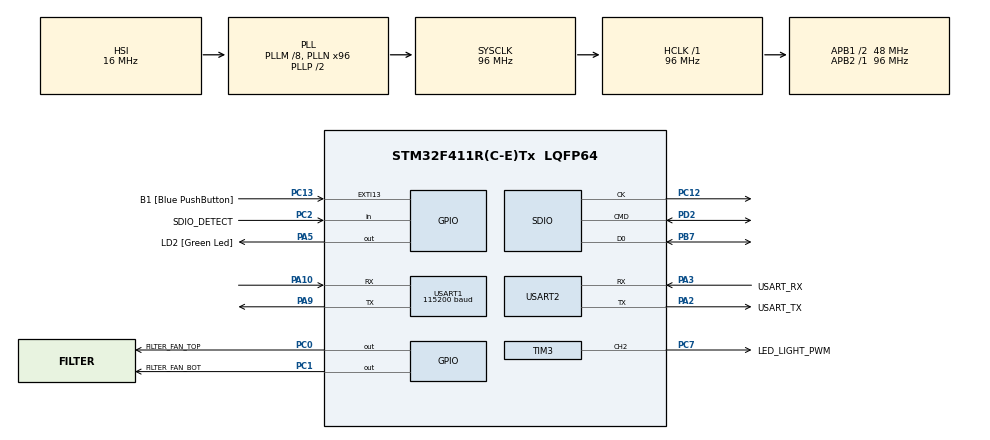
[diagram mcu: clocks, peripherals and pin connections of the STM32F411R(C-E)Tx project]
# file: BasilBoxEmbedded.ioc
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Dma.Request0=USART1_RX
Dma.Request1=SDIO_RX
Dma.Request2=SDIO_TX
Dma.SDIO_RX.1.Direction=DMA_PERIPH_TO_MEMORY
Dma.SDIO_RX.1.FIFOMode=DMA_FIFOMODE_ENABLE
Dma.SDIO_RX.1.FIFOThreshold=DMA_FIFO_THRESHOLD_FULL
Dma.SDIO_RX.1.Instance=DMA2_Stream3
Dma.SDIO_RX.1.MemBurst=DMA_MBURST_INC4
Dma.SDIO_RX.1.MemDataAlignment=DMA_MDATAALIGN_WORD
Dma.SDIO_RX.1.MemInc=DMA_MINC_ENABLE
Dma.SDIO_RX.1.Mode=DMA_PFCTRL
Dma.SDIO_RX.1.PeriphBurst=DMA_PBURST_INC4
Dma.SDIO_RX.1.PeriphDataAlignment=DMA_PDATAALIGN_WORD
Dma.SDIO_RX.1.PeriphInc=DMA_PINC_DISABLE
Dma.SDIO_RX.1.Priority=DMA_PRIORITY_LOW
Dma.SDIO_TX.2.Direction=DMA_MEMORY_TO_PERIPH
Dma.SDIO_TX.2.FIFOMode=DMA_FIFOMODE_ENABLE
Dma.SDIO_TX.2.FIFOThreshold=DMA_FIFO_THRESHOLD_FULL
Dma.SDIO_TX.2.Instance=DMA2_Stream6
Dma.SDIO_TX.2.MemBurst=DMA_MBURST_INC4
Dma.SDIO_TX.2.MemDataAlignment=DMA_MDATAALIGN_WORD
Dma.SDIO_TX.2.MemInc=DMA_MINC_ENABLE
Dma.SDIO_TX.2.Mode=DMA_PFCTRL
Dma.SDIO_TX.2.PeriphBurst=DMA_PBURST_INC4
Dma.SDIO_TX.2.PeriphDataAlignment=DMA_PDATAALIGN_WORD
Dma.SDIO_TX.2.PeriphInc=DMA_PINC_DISABLE
Dma.SDIO_TX.2.Priority=DMA_PRIORITY_LOW
Dma.USART1_RX.0.Direction=DMA_PERIPH_TO_MEMORY
Dma.USART1_RX.0.FIFOMode=DMA_FIFOMODE_DISABLE
Dma.USART1_RX.0.Instance=DMA2_Stream2
Dma.USART1_RX.0.MemDataAlignment=DMA_MDATAALIGN_BYTE
Dma.USART1_RX.0.MemInc=DMA_MINC_ENABLE
Dma.USART1_RX.0.Mode=DMA_CIRCULAR
Dma.USART1_RX.0.PeriphDataAlignment=DMA_PDATAALIGN_BYTE
Dma.USART1_RX.0.PeriphInc=DMA_PINC_DISABLE
Dma.USART1_RX.0.Priority=DMA_PRIORITY_LOW
FATFS.BSP.number=1
FATFS.USE_DMA_CODE_SD=1
FATFS._USE_LFN=1
FATFS0.BSP.STBoard=false
FATFS0.BSP.api=Unknown
FATFS0.BSP.instance=PC2
FATFS0.BSP.ip=GPIO
FATFS0.BSP.mode=Input
FATFS0.BSP.name=Detect_SDIO
FATFS0.BSP.solution=PC2
Mcu.Family=STM32F4
Mcu.Name=STM32F411R(C-E)Tx
Mcu.Package=LQFP64
NVIC.DMA2_Stream2_IRQn=true\:0\:0\:false\:false\:true\:false\:true\:true
NVIC.DMA2_Stream3_IRQn=true\:0\:0\:false\:false\:true\:false\:true\:true
NVIC.DMA2_Stream6_IRQn=true\:0\:0\:false\:false\:true\:false\:true\:true
NVIC.EXTI15_10_IRQn=true\:0\:0\:false\:false\:true\:true\:true\:true
NVIC.PriorityGroup=NVIC_PRIORITYGROUP_0
NVIC.RTC_Alarm_IRQn=true\:0\:0\:false\:false\:true\:true\:true\:true
NVIC.SDIO_IRQn=true\:0\:0\:false\:false\:true\:true\:true\:true
NVIC.TIM1_TRG_COM_TIM11_IRQn=true\:0\:0\:false\:false\:true\:true\:true\:true
NVIC.USART1_IRQn=true\:0\:0\:false\:false\:true\:true\:true\:true
PA10.Mode=Asynchronous
PA10.Signal=USART1_RX
PA13.GPIO_Label=TMS
PA13.Mode=Serial_Wire
PA13.Signal=SYS_JTMS-SWDIO
PA14.GPIO_Label=TCK
PA14.Mode=Serial_Wire
PA14.Signal=SYS_JTCK-SWCLK
PA2.GPIO_Label=USART_TX
PA2.Mode=Asynchronous
PA2.Signal=USART2_TX
PA3.GPIO_Label=USART_RX
PA3.Mode=Asynchronous
PA3.Signal=USART2_RX
PA5.GPIO_Label=LD2 [Green Led]
PA5.Signal=GPIO_Output
PA9.Mode=Asynchronous
PA9.Signal=USART1_TX
PB3.GPIO_Label=SWO
PB3.Signal=SYS_JTDO-SWO
PB7.GPIO_PuPd=GPIO_NOPULL
PB7.Mode=SD_1_bit
PB7.Signal=SDIO_D0
PC0.GPIO_Label=FILTER_FAN_TOP
PC0.Signal=GPIO_Output
PC1.GPIO_Label=FILTER_FAN_BOT
PC1.Signal=GPIO_Output
PC10.Signal=SDIO_D2
PC11.Signal=SDIO_D3
PC12.Mode=SD_1_bit
PC12.Signal=SDIO_CK
PC13-ANTI_TAMP.GPIO_Label=B1 [Blue PushButton]
PC13-ANTI_TAMP.GPIO_ModeDefaultEXTI=GPIO_MODE_IT_RISING_FALLING
PC13-ANTI_TAMP.Signal=GPXTI13
PC14-OSC32_IN.Mode=LSE-External-Oscillator
PC14-OSC32_IN.Signal=RCC_OSC32_IN
PC15-OSC32_OUT.Mode=LSE-External-Oscillator
PC15-OSC32_OUT.Signal=RCC_OSC32_OUT
PC2.GPIO_Label=SDIO_DETECT
PC2.Signal=GPIO_Input
PC7.GPIO_Label=LED_LIGHT_PWM
PC7.Signal=S_TIM3_CH2
PC9.Signal=SDIO_D1
PD2.GPIO_PuPd=GPIO_NOPULL
PD2.Mode=SD_1_bit
PD2.Signal=SDIO_CMD
PH0\ -\ OSC_IN.Mode=HSE-External-Clock-Source
PH0\ -\ OSC_IN.Signal=RCC_OSC_IN
PH1\ -\ OSC_OUT.Mode=HSE-External-Clock-Source
PH1\ -\ OSC_OUT.Signal=RCC_OSC_OUT
ProjectManager.HeapSize=0x200
ProjectManager.StackSize=0x400
ProjectManager.TargetToolchain=STM32CubeIDE
RCC.48MHZClocksFreq_Value=48000000
RCC.AHBFreq_Value=96000000
RCC.APB1CLKDivider=RCC_HCLK_DIV2
RCC.APB1Freq_Value=48000000
RCC.APB1TimFreq_Value=96000000
RCC.APB2Freq_Value=96000000
RCC.APB2TimFreq_Value=96000000
RCC.CortexFreq_Value=96000000
RCC.FLatency-AdvancedSettings=FLASH_LATENCY_3
RCC.HCLKFreq_Value=96000000
RCC.HSE_VALUE=8000000
RCC.HSI_VALUE=16000000
RCC.PLLM=8
RCC.PLLN=96
RCC.RCC_RTC_Clock_Source=RCC_RTCCLKSOURCE_LSE
RCC.RCC_RTC_Clock_SourceVirtual=RCC_RTCCLKSOURCE_LSE
RCC.SYSCLKFreq_VALUE=96000000
RCC.SYSCLKSource=RCC_SYSCLKSOURCE_PLLCLK
RCC.VCOOutputFreq_Value=192000000
RTC.Alarm=RTC_ALARM_A
RTC.Format=RTC_FORMAT_BIN
RTC.Hours_A=23
RTC.Minutes_A=59
RTC.StoreOperation=RTC_STOREOPERATION_RESET
SDIO.ClockDiv=0
SDIO.HardwareFlowControl=SDIO_HARDWARE_FLOW_CONTROL_DISABLE
SH.S_TIM3_CH2.0=TIM3_CH2,PWM Generation2 CH2
TIM11.AutoReloadPreload=TIM_AUTORELOAD_PRELOAD_ENABLE
TIM11.Channel=TIM_CHANNEL_1
TIM11.Period=1000-1
TIM11.Prescaler=96-1
TIM3.AutoReloadPreload=TIM_AUTORELOAD_PRELOAD_ENABLE
TIM3.Channel-PWM\ Generation2\ CH2=TIM_CHANNEL_2
TIM3.OCPolarity_2=TIM_OCPOLARITY_LOW
TIM3.Period=1000-1
TIM3.Prescaler=96-1
TIM3.Pulse-PWM\ Generation2\ CH2=0
USART1.BaudRate=115200
USART1.Parity=PARITY_NONE
USART1.VirtualMode=VM_ASYNC
USART2.VirtualMode=VM_ASYNC
VP_FATFS_VS_SDIO.Mode=SDIO
VP_RTC_VS_RTC_Activate.Mode=RTC_Enabled
VP_RTC_VS_RTC_Alarm_A_Intern.Mode=Alarm A
VP_RTC_VS_RTC_Calendar.Mode=RTC_Calendar
VP_TIM11_VS_ClockSourceINT.Mode=Enable_Timer
VP_TIM11_VS_no_output1.Mode=Output Compare1 No Output
board=NUCLEO-F411RE

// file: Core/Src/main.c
/* USER CODE BEGIN Header */
/**
  ******************************************************************************
  * @file           : main.c
  * @brief          : Main program body
  ******************************************************************************
  * @attention
  *
  * Copyright (c) 2022 STMicroelectronics.
  * All rights reserved.
  *
  * This software is licensed under terms that can be found in the LICENSE file
  * in the root directory of this software component.
  * If no LICENSE file comes with this software, it is provided AS-IS.
  *
  ******************************************************************************
  */
/* USER CODE END Header */
#include "main.h"
#include "dma.h"
#include "fatfs.h"
#include "rtc.h"
#include "sdio.h"
#include "tim.h"
#include "usart.h"
#include "gpio.h"

/* USER CODE BEGIN Includes */
#include "led.h"
#include "filter_fan.h"
#include "led_light.h"
#include "com.h"
#include "sd.h"
#include "error.h"
#include "debug.h"
/* USER CODE END Includes */

void SystemClock_Config(void);

int main(void)
{

  /* MCU Configuration--------------------------------------------------------*/

  /* Reset of all peripherals, Initializes the Flash interface and the Systick. */
  HAL_Init();

  /* Configure the system clock */
  SystemClock_Config();

  /* Initialize all configured peripherals */
  MX_GPIO_Init();
  MX_DMA_Init();
  MX_USART2_UART_Init();
  MX_TIM3_Init();
  MX_USART1_UART_Init();
  MX_TIM11_Init();
  MX_SDIO_SD_Init();
  MX_FATFS_Init();
  MX_RTC_Init();
  /* USER CODE BEGIN 2 */
    sd_init();
	rtc_init();
    com_init();
    usart_init();
    tim_init();
    debug_init();
	filterFan_init();
	ledLight_init();

    led_blink(200, 800);
  /* USER CODE END 2 */

  /* Infinite loop */
  /* USER CODE BEGIN WHILE */
    while (1)
    {
        usart_mainLoop();
        com_mainLoop();
        debug_mainLoop();
	    filterFan_mainLoop();
	    ledLight_mainLoop();
    /* USER CODE END WHILE */

  }
}

void SystemClock_Config(void)
{
  RCC_OscInitTypeDef RCC_OscInitStruct = {0};
  RCC_ClkInitTypeDef RCC_ClkInitStruct = {0};

  /** Configure the main internal regulator output voltage
  */
  __HAL_RCC_PWR_CLK_ENABLE();
  __HAL_PWR_VOLTAGESCALING_CONFIG(PWR_REGULATOR_VOLTAGE_SCALE1);

  /** Initializes the RCC Oscillators according to the specified parameters
  * in the RCC_OscInitTypeDef structure.
  */
  RCC_OscInitStruct.OscillatorType = RCC_OSCILLATORTYPE_HSI|RCC_OSCILLATORTYPE_LSE;
  RCC_OscInitStruct.LSEState = RCC_LSE_ON;
  RCC_OscInitStruct.HSIState = RCC_HSI_ON;
  RCC_OscInitStruct.HSICalibrationValue = RCC_HSICALIBRATION_DEFAULT;
  RCC_OscInitStruct.PLL.PLLState = RCC_PLL_ON;
  RCC_OscInitStruct.PLL.PLLSource = RCC_PLLSOURCE_HSI;
  RCC_OscInitStruct.PLL.PLLM = 8;
  RCC_OscInitStruct.PLL.PLLN = 96;
  RCC_OscInitStruct.PLL.PLLP = RCC_PLLP_DIV2;
  RCC_OscInitStruct.PLL.PLLQ = 4;
  if (HAL_RCC_OscConfig(&RCC_OscInitStruct) != HAL_OK)
  {
    Error_Handler();
  }

  /** Initializes the CPU, AHB and APB buses clocks
  */
  RCC_ClkInitStruct.ClockType = RCC_CLOCKTYPE_HCLK|RCC_CLOCKTYPE_SYSCLK
                              |RCC_CLOCKTYPE_PCLK1|RCC_CLOCKTYPE_PCLK2;
  RCC_ClkInitStruct.SYSCLKSource = RCC_SYSCLKSOURCE_PLLCLK;
  RCC_ClkInitStruct.AHBCLKDivider = RCC_SYSCLK_DIV1;
  RCC_ClkInitStruct.APB1CLKDivider = RCC_HCLK_DIV2;
  RCC_ClkInitStruct.APB2CLKDivider = RCC_HCLK_DIV1;

  if (HAL_RCC_ClockConfig(&RCC_ClkInitStruct, FLASH_LATENCY_3) != HAL_OK)
  {
    Error_Handler();
  }
}

void Error_Handler(void)
{
  /* USER CODE BEGIN Error_Handler_Debug */
	error_handle(error_main_errorHandle, error_hard);
  /* USER CODE END Error_Handler_Debug */
}
